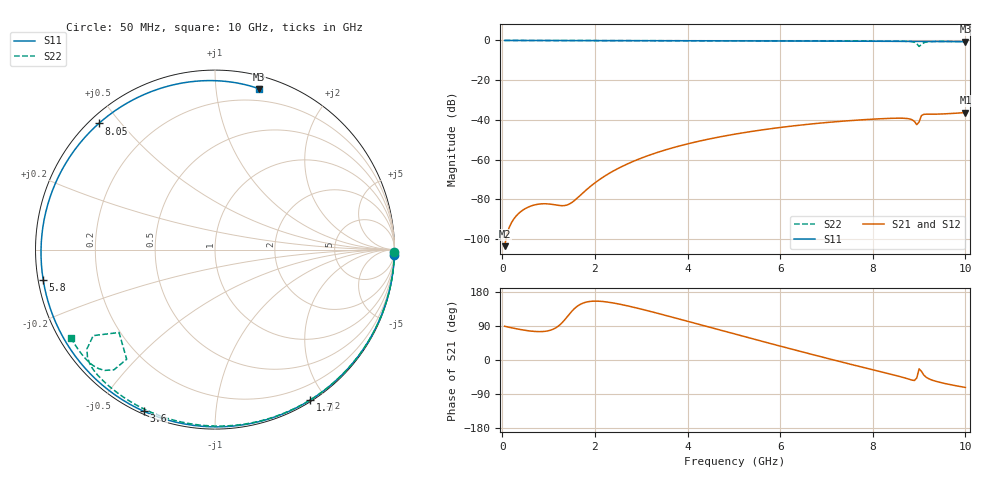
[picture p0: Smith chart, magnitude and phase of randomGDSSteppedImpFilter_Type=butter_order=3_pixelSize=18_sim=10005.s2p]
! freq	dB(S11)	phase(S11)	dB(S12)	phase(S12)
!  dB(S21)	phase(S21)	dB(S22)	phase(S22)
!S-par simulation data
#  GHz  S  DB  R 50
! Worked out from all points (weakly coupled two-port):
!   200 points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, 50 MHz to 10 GHz, reference 50 ohm
!   highest |S21| = -36.26 dB at 10 GHz (marker M1); lowest = -103.5 dB at 50 MHz (marker M2)
!   lowest |S11| = -0.6 dB at 10 GHz (marker M3), VSWR 27.18, Z = 5 + j65.4 ohm
!   |S11| at or under -10 dB: nowhere
!   |S22| runs from -3.0 to 0.0 dB; largest |S21 - S12| = 0
!   S11 on the Smith chart (normalised r, x): 50 MHz: 0, -65; 1.7 GHz: 0.02, -1.82; 3.6 GHz: 0.01, -0.65; 5.8 GHz: 0.01, -0.09; 8.05 GHz: 0.03, +0.44; 10 GHz: 0.10, +1.31
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0.05  -0.00 -1.8  -103.49 89.1  -103.49 89.1  -0.00 -0.9
0.75  -0.03 -26.0  -82.47 75.0  -82.47 75.0  -0.02 -12.9
1.55  -0.06 -52.8  -80.68 134.8  -80.68 134.8  -0.03 -26.5
1.7  -0.07 -57.6  -77.57 147.8  -77.57 147.8  -0.04 -29.1
1.75  -0.07 -59.2  -76.50 150.4  -76.50 150.4  -0.04 -29.9
2.45  -0.10 -81.0  -65.00 149.3  -65.00 149.3  -0.05 -41.5
3.4  -0.13 -108.3  -55.94 121.8  -55.94 121.8  -0.08 -56.8
3.6  -0.14 -113.8  -54.53 115.3  -54.53 115.3  -0.08 -59.9
4.35  -0.17 -133.6  -50.15 90.6  -50.15 90.6  -0.10 -71.5
5.05  -0.20 -151.4  -47.02 67.5  -47.02 67.5  -0.13 -82.0
5.8  -0.25 -170.0  -44.38 43.1  -44.38 43.1  -0.16 -92.9
6.7  -0.30 167.6  -41.95 14.3  -41.95 14.3  -0.21 -105.6
7.35  -0.35 151.1  -40.60 -6.0  -40.60 -6.0  -0.25 -114.6
8.05  -0.40 132.6  -39.53 -27.3  -39.53 -27.3  -0.30 -124.5
8.35  -0.42 124.5  -39.21 -36.4  -39.21 -36.4  -0.34 -128.9
8.8  -0.45 111.8  -39.50 -51.3  -39.50 -51.3  -0.51 -137.9
8.95  -0.46 107.4  -42.36 -47.4  -42.36 -47.4  -1.61 -144.8
9  -0.47 106.0  -41.02 -23.3  -41.02 -23.3  -3.02 -139.2
9.05  -0.47 104.5  -37.84 -29.6  -37.84 -29.6  -2.11 -128.9
9.1  -0.48 103.0  -37.18 -39.4  -37.18 -39.4  -1.16 -130.1
9.35  -0.50 95.5  -37.09 -55.8  -37.09 -55.8  -0.53 -138.0
10  -0.64 74.6  -36.26 -72.5  -36.26 -72.5  -0.53 -148.5
